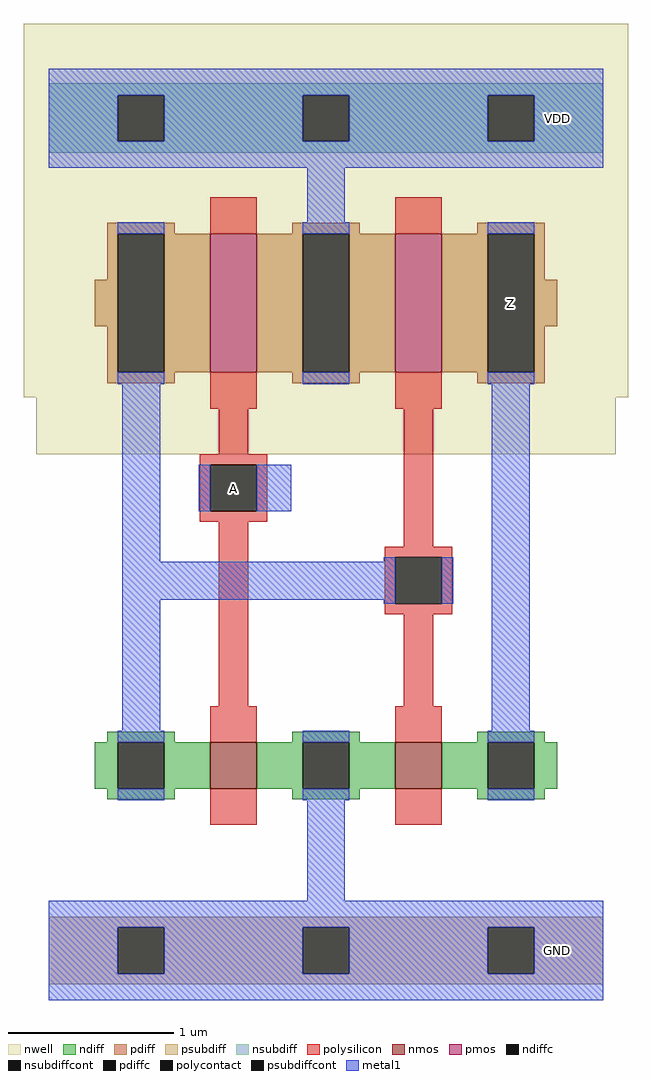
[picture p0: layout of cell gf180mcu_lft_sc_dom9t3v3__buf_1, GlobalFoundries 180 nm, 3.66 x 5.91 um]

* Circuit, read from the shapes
.subckt gf180mcu_lft_sc_dom9t3v3__buf_1 GND VDD A Z
XM1 GND A n1 GND nfet_03v3 w=0.28u l=0.28u
XM2 Z n1 GND GND nfet_03v3 w=0.28u l=0.28u
XM3 VDD A n1 VDD pfet_03v3 w=0.84u l=0.28u
XM4 Z n1 VDD VDD pfet_03v3 w=0.84u l=0.28u
.ends

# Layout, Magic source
magic
tech gf180mcuD
magscale 1 10
<< nwell >>
rect -30 670 702 1122
rect -15 601 687 670
<< nmos >>
rect 196 196 252 252
rect 420 196 476 252
<< pmos >>
rect 196 700 252 868
rect 420 700 476 868
<< ndiff >>
rect 71 252 153 265
rect 295 252 377 265
rect 519 252 601 265
rect 56 196 84 252
rect 140 196 196 252
rect 252 196 308 252
rect 364 196 420 252
rect 476 196 532 252
rect 588 196 616 252
rect 71 183 153 196
rect 295 183 377 196
rect 519 183 601 196
<< pdiff >>
rect 71 868 153 881
rect 295 868 377 881
rect 519 868 601 881
rect 71 812 84 868
rect 56 756 84 812
rect 71 700 84 756
rect 140 700 196 868
rect 252 700 308 868
rect 364 700 420 868
rect 476 700 532 868
rect 588 812 601 868
rect 588 756 616 812
rect 588 700 601 756
rect 71 687 153 700
rect 295 687 377 700
rect 519 687 601 700
<< ndiffc >>
rect 84 196 140 252
rect 308 196 364 252
rect 532 196 588 252
<< pdiffc >>
rect 84 700 140 868
rect 308 700 364 868
rect 532 700 588 868
<< psubdiff >>
rect 0 28 672 41
rect 0 -28 84 28
rect 140 -28 308 28
rect 364 -28 532 28
rect 588 -28 672 28
rect 0 -41 672 -28
<< nsubdiff >>
rect 0 1036 672 1050
rect 0 980 84 1036
rect 140 980 308 1036
rect 364 980 532 1036
rect 588 980 672 1036
rect 0 966 672 980
<< psubdiffcont >>
rect 84 -28 140 28
rect 308 -28 364 28
rect 532 -28 588 28
<< nsubdiffcont >>
rect 84 980 140 1036
rect 308 980 364 1036
rect 532 980 588 1036
<< polysilicon >>
rect 196 868 252 912
rect 420 868 476 912
rect 196 656 252 700
rect 420 656 476 700
rect 206 601 242 656
rect 183 588 265 601
rect 183 532 196 588
rect 252 532 265 588
rect 183 519 265 532
rect 206 296 242 519
rect 430 489 466 656
rect 407 476 489 489
rect 407 420 420 476
rect 476 420 489 476
rect 407 407 489 420
rect 430 296 466 407
rect 196 252 252 296
rect 420 252 476 296
rect 196 152 252 196
rect 420 152 476 196
<< polycontact >>
rect 196 532 252 588
rect 420 420 476 476
<< metal1 >>
rect 0 1036 672 1068
rect 0 980 84 1036
rect 140 980 308 1036
rect 364 980 532 1036
rect 588 980 672 1036
rect 0 948 672 980
rect 313 882 359 948
rect 84 868 140 882
rect 84 686 140 700
rect 308 868 364 882
rect 308 686 364 700
rect 532 868 588 882
rect 532 686 588 700
rect 89 471 135 686
rect 182 532 196 588
rect 252 532 294 588
rect 406 471 420 476
rect 89 425 420 471
rect 89 266 135 425
rect 406 420 420 425
rect 476 420 490 476
rect 537 266 583 686
rect 84 252 140 266
rect 84 182 140 196
rect 308 252 364 266
rect 308 182 364 196
rect 532 252 588 266
rect 532 182 588 196
rect 313 60 359 182
rect 0 28 672 60
rect 0 -28 84 28
rect 140 -28 308 28
rect 364 -28 532 28
rect 588 -28 672 28
rect 0 -60 672 -28
<< labels >>
rlabel metal1 616 0 616 0 3 GND
port 1 e
rlabel metal1 616 1008 616 1008 3 VDD
port 2 e
rlabel polycontact 224 560 224 560 3 A
port 3 e
rlabel pdiffc 560 784 560 784 3 Z
port 4 e
<< properties >>
string FIXED_BBOX 0 0 672 1008
<< end >>
